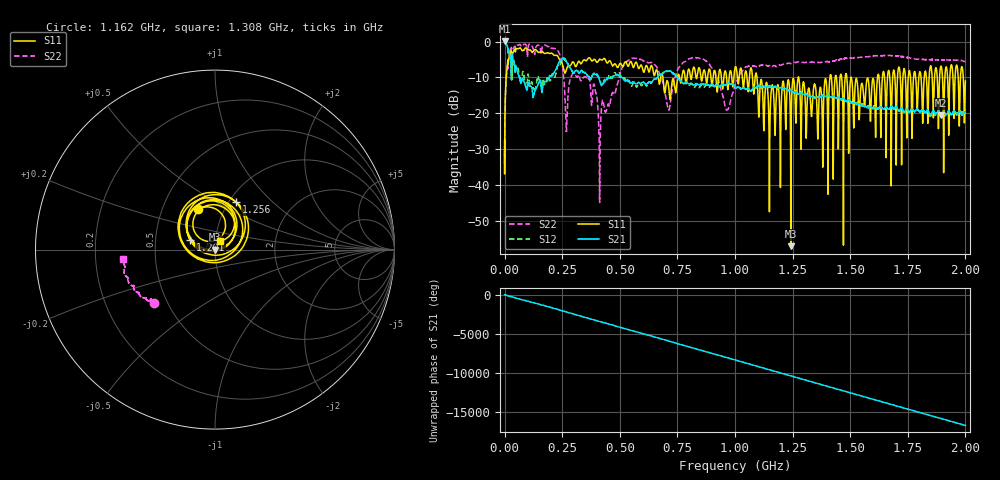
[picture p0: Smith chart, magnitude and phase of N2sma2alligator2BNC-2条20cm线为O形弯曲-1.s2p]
# HZ S RI R 50.000000000000
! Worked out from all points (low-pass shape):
!   19999 points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, 104.5 kHz to 2 GHz, reference 50 ohm
!   highest |S21| = 0.12 dB at 104.5 kHz (marker M1); lowest = -20.5 dB at 1.895 GHz (marker M2)
!   |S21| within 3 dB of the highest: start of sweep to 14.7 MHz; 15.16 MHz to 19.45 MHz (4.287 MHz wide, 24.8 % of centre)
!   lowest |S11| = -57.1 dB at 1.242 GHz (marker M3), VSWR 1.00, Z = 49.9 - j0.0149 ohm
!   |S11| at or under -10 dB: 1.095 GHz to 1.274 GHz (178.6 MHz wide, 15.1 % of centre); 1.276 GHz to 1.412 GHz (135.7 MHz wide, 10.1 % of centre); 1.505 GHz to 1.618 GHz (113.1 MHz wide, 7.24 % of centre)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
!   |S22| runs from -44.8 to -0.7 dB; largest |S21 - S12| = 0.089
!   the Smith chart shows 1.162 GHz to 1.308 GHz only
!   S11 on the Smith chart (normalised r, x): 1.162 GHz: 0.75, +0.37; 1.201 GHz: 0.75, +0.09; 1.256 GHz: 1.08, +0.63; 1.308 GHz: 1.05, +0.10
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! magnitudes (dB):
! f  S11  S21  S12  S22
! 104.5 kHz  -27.5  0.1  0.3  -30.6
! 18.11 MHz  -4.9  -2.5  -2.3  -4.3
! 57.91 MHz  -2.0  -8.8  -7.4  -1.0
! 229.4 MHz  -4.0  -6.9  -6.8  -2.3
! 268.6 MHz  -7.7  -5.6  -5.4  -24.9
! 333.4 MHz  -6.1  -8.1  -8.0  -10.8
! 413.1 MHz  -4.9  -11.1  -10.5  -37.6
! 530 MHz  -6.1  -10.8  -11.4  -5.6
! 666.7 MHz  -9.8  -9.6  -9.5  -8.0
! 711.4 MHz  -12.3  -8.3  -8.2  -19.0
! 809.1 MHz  -10.5  -11.6  -11.8  -4.7
! 964.9 MHz  -10.9  -11.7  -11.6  -19.1
! 1 GHz  -7.3  -12.8  -12.7  -12.2
! 1.162 GHz  -12.2  -12.6  -12.9  -6.9
! 1.201 GHz  -16.6  -12.9  -13.1  -6.5
! 1.242 GHz  -57.1  -13.4  -13.3  -6.2
! 1.256 GHz  -10.7  -14.2  -14.0  -5.8
! 1.308 GHz  -25.2  -14.7  -14.4  -5.8
! 1.333 GHz  -20.3  -15.4  -15.2  -5.7
! 1.667 GHz  -8.0  -18.9  -18.9  -3.8
! 1.895 GHz  -6.9  -20.5  -20.7  -5.2
! 2 GHz  -11.0  -19.9  -19.3  -5.6
